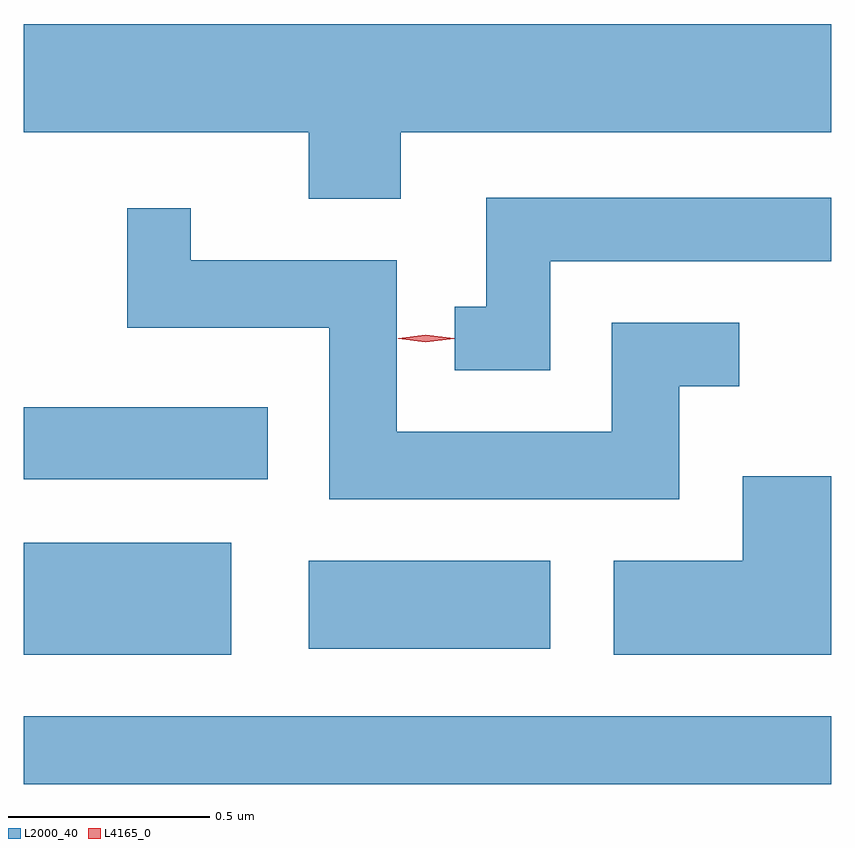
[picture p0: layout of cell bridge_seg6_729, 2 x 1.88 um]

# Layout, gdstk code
import gdstk
lib = gdstk.Library(unit=1e-6, precision=1e-09)
def R(c, l, rs):  # rectangles x0, y0, x1, y1
    for r in rs: c.add(gdstk.rectangle(r[:2], r[2:], *l))
def P(c, l, *ps):  # polygons
    for p in ps: c.add(gdstk.Polygon(p, *l))
L2000_40 = (2000, 40)
L4165_0 = (4165, 0)

bridge_seg6_729 = lib.new_cell('bridge_seg6_729')
R(bridge_seg6_729, L2000_40, [(308.525,1539.541,310.525,1539.709), (308.525,1539.861,309.039,1540.139), (309.231,1539.876,309.829,1540.094), (308.525,1540.296,309.129,1540.474)])
P(bridge_seg6_729, L2000_40, [(309.459,1541.156),(310.525,1541.156),(310.525,1541.424),(308.525,1541.424),(308.525,1541.156),(309.231,1541.156),(309.231,1540.991),(309.459,1540.991)],
  [(309.829,1540.836),(310.525,1540.836),(310.525,1540.994),(309.671,1540.994),(309.671,1540.724),(309.593,1540.724),(309.593,1540.566),(309.829,1540.566)],
  [(310.149,1540.526),(310.298,1540.526),(310.298,1540.684),(309.981,1540.684),(309.981,1540.414),(309.449,1540.414),(309.449,1540.839),(308.939,1540.839),(308.939,1540.968),(308.781,1540.968),(308.781,1540.671),(309.281,1540.671),(309.281,1540.246),(310.149,1540.246)],
  [(310.525,1540.304),(310.306,1540.304),(310.306,1540.094),(309.986,1540.094),(309.986,1539.861),(310.525,1539.861)])
P(bridge_seg6_729, L4165_0, [(309.521,1540.635),(309.452,1540.644),(309.452,1540.644),(309.452,1540.645),(309.521,1540.654),(309.591,1540.646),(309.591,1540.645),(309.591,1540.644)])

lib.write_gds('bridge_seg6_729.gds')
